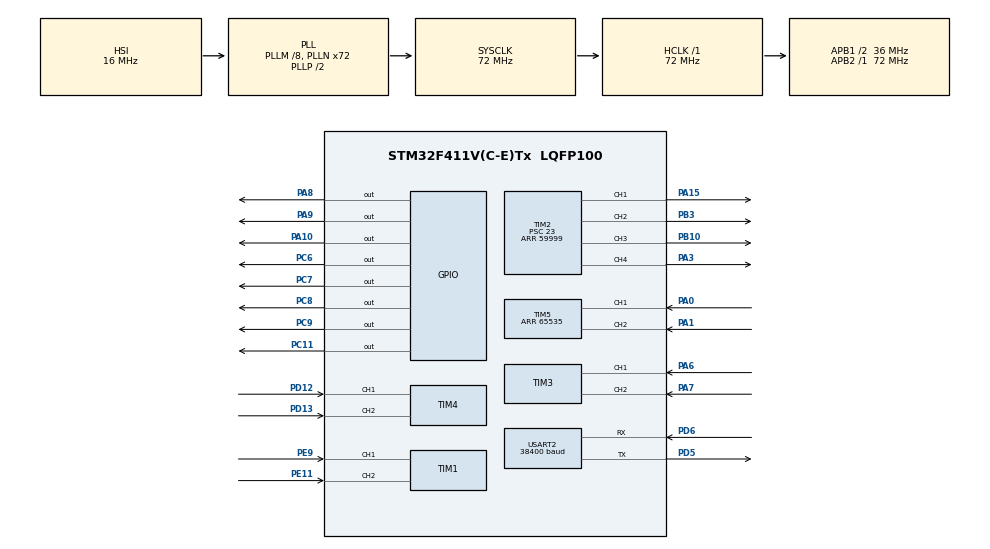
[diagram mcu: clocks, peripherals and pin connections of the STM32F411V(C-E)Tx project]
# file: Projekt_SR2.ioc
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Dma.Request0=USART2_RX
Dma.USART2_RX.0.Direction=DMA_PERIPH_TO_MEMORY
Dma.USART2_RX.0.FIFOMode=DMA_FIFOMODE_DISABLE
Dma.USART2_RX.0.Instance=DMA1_Stream5
Dma.USART2_RX.0.MemDataAlignment=DMA_MDATAALIGN_BYTE
Dma.USART2_RX.0.MemInc=DMA_MINC_ENABLE
Dma.USART2_RX.0.Mode=DMA_NORMAL
Dma.USART2_RX.0.PeriphDataAlignment=DMA_PDATAALIGN_BYTE
Dma.USART2_RX.0.PeriphInc=DMA_PINC_DISABLE
Dma.USART2_RX.0.Priority=DMA_PRIORITY_LOW
Mcu.Family=STM32F4
Mcu.Name=STM32F411V(C-E)Tx
Mcu.Package=LQFP100
NVIC.DMA1_Stream5_IRQn=true\:0\:0\:false\:false\:true\:false\:true
NVIC.PriorityGroup=NVIC_PRIORITYGROUP_4
NVIC.USART2_IRQn=true\:0\:0\:false\:false\:true\:true\:true
PA0-WKUP.Signal=S_TIM5_CH1
PA1.Signal=S_TIM5_CH2
PA10.Signal=GPIO_Output
PA15.Signal=S_TIM2_CH1_ETR
PA3.Signal=S_TIM2_CH4
PA6.Signal=S_TIM3_CH1
PA7.Signal=S_TIM3_CH2
PA8.Signal=GPIO_Output
PA9.PinState=GPIO_PIN_RESET
PA9.Signal=GPIO_Output
PB10.Signal=S_TIM2_CH3
PB3.Signal=S_TIM2_CH2
PC11.Signal=GPIO_Output
PC6.Signal=GPIO_Output
PC7.PinState=GPIO_PIN_RESET
PC7.Signal=GPIO_Output
PC8.Signal=GPIO_Output
PC9.PinState=GPIO_PIN_RESET
PC9.Signal=GPIO_Output
PD12.Signal=S_TIM4_CH1
PD13.Signal=S_TIM4_CH2
PD5.Mode=Asynchronous
PD5.Signal=USART2_TX
PD6.Mode=Asynchronous
PD6.Signal=USART2_RX
PE11.Signal=S_TIM1_CH2
PE9.Signal=S_TIM1_CH1
ProjectManager.HeapSize=0x200
ProjectManager.StackSize=0x400
ProjectManager.TargetToolchain=STM32CubeIDE
RCC.48MHZClocksFreq_Value=36000000
RCC.AHBFreq_Value=72000000
RCC.APB1CLKDivider=RCC_HCLK_DIV2
RCC.APB1Freq_Value=36000000
RCC.APB1TimFreq_Value=72000000
RCC.APB2Freq_Value=72000000
RCC.APB2TimFreq_Value=72000000
RCC.CortexFreq_Value=72000000
RCC.HCLKFreq_Value=72000000
RCC.HSE_VALUE=25000000
RCC.HSI_VALUE=16000000
RCC.LSE_VALUE=32768
RCC.PLLM=8
RCC.PLLN=72
RCC.SYSCLKFreq_VALUE=72000000
RCC.SYSCLKSource=RCC_SYSCLKSOURCE_PLLCLK
RCC.VCOOutputFreq_Value=144000000
SH.S_TIM1_CH1.0=TIM1_CH1,Encoder_Interface
SH.S_TIM1_CH2.0=TIM1_CH2,Encoder_Interface
SH.S_TIM2_CH1_ETR.0=TIM2_CH1,PWM Generation1 CH1
SH.S_TIM2_CH2.0=TIM2_CH2,PWM Generation2 CH2
SH.S_TIM2_CH3.0=TIM2_CH3,PWM Generation3 CH3
SH.S_TIM2_CH4.0=TIM2_CH4,PWM Generation4 CH4
SH.S_TIM3_CH1.0=TIM3_CH1,Encoder_Interface
SH.S_TIM3_CH2.0=TIM3_CH2,Encoder_Interface
SH.S_TIM4_CH1.0=TIM4_CH1,Encoder_Interface
SH.S_TIM4_CH2.0=TIM4_CH2,Encoder_Interface
SH.S_TIM5_CH1.0=TIM5_CH1,Encoder_Interface
SH.S_TIM5_CH2.0=TIM5_CH2,Encoder_Interface
TIM1.EncoderMode=TIM_ENCODERMODE_TI12
TIM1.IC1Filter=15
TIM1.IC2Filter=15
TIM2.AutoReloadPreload=TIM_AUTORELOAD_PRELOAD_ENABLE
TIM2.Channel-PWM\ Generation1\ CH1=TIM_CHANNEL_1
TIM2.Channel-PWM\ Generation2\ CH2=TIM_CHANNEL_2
TIM2.Channel-PWM\ Generation3\ CH3=TIM_CHANNEL_3
TIM2.Channel-PWM\ Generation4\ CH4=TIM_CHANNEL_4
TIM2.Period=59999
TIM2.Prescaler=23
TIM3.EncoderMode=TIM_ENCODERMODE_TI12
TIM3.IC1Filter=15
TIM3.IC2Filter=15
TIM4.EncoderMode=TIM_ENCODERMODE_TI12
TIM4.IC1Filter=15
TIM4.IC2Filter=15
TIM5.EncoderMode=TIM_ENCODERMODE_TI12
TIM5.IC1Filter=15
TIM5.IC2Filter=15
TIM5.Period=65535
TIM9.Period=29999
TIM9.Prescaler=7199
USART2.BaudRate=38400
USART2.VirtualMode=VM_ASYNC
VP_TIM9_VS_ClockSourceINT.Mode=Internal
board=custom

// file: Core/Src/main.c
/* USER CODE BEGIN Header */
/**
  ******************************************************************************
  * @file           : main.c
  * @brief          : Main program body
  ******************************************************************************
  * @attention
  *
  * <h2><center>&copy; Copyright (c) 2021 STMicroelectronics.
  * All rights reserved.</center></h2>
  *
  * This software component is licensed by ST under BSD 3-Clause license,
  * the "License"; You may not use this file except in compliance with the
  * License. You may obtain a copy of the License at:
  *                        opensource.org/licenses/BSD-3-Clause
  *
  ******************************************************************************
  */
/* USER CODE END Header */
#include "main.h"

/* USER CODE BEGIN Includes */
// 2222222222222222222222222222222222222222222222222
#include <stdio.h>

#include "InverseKinematics.h"
#include "Servo.h"
#include <stdlib.h>
#include "MY_FLASH.h"
#include "dc_driver.h"
#include "pid.h"
#include "odometry.h"
/* USER CODE END Includes */

/* USER CODE BEGIN PTD */
uint8_t Received;
int cpr1,cpr2,cpr4;
float cpr3;
uint8_t rxBuf[50];
uint8_t buffer[50];

//TEST UART
unsigned char buforRx[27] = {0};
unsigned char bufRxIndex = 0;
int FLAGA = 0;

int data[3];
float Data[4];
char id = 'a';
uint8_t flaga = 0;
uint8_t TRYB;
uint8_t flaga_trybu = 0;
uint8_t move = 0;
float flashData[4];
float flashData_check[4];
uint8_t flagaUART=0;
int i = 0;
int sectIT;
//int sectPLAY;
uint8_t erase = 1;
float seqNum;
robot_position robotPositon;

//cpid_t PID;
long int ENCODER_POS;

int32_t pid_out;
/* USER CODE END PTD */

/* USER CODE BEGIN PD */
#define MOTOR_MAX 49999
#define ENC_ZERO 32768
/* USER CODE END PD */

TIM_HandleTypeDef htim1;
TIM_HandleTypeDef htim2;
TIM_HandleTypeDef htim3;
TIM_HandleTypeDef htim4;
TIM_HandleTypeDef htim5;
TIM_HandleTypeDef htim9;

UART_HandleTypeDef huart2;
DMA_HandleTypeDef hdma_usart2_rx;

/* USER CODE BEGIN PV */
int _write(int file, char *ptr, int len) {
	HAL_UART_Transmit(&huart2, (uint8_t*)ptr, len, 50);
	return len;
}
/* USER CODE END PV */

void SystemClock_Config(void);
static void MX_GPIO_Init(void);
static void MX_DMA_Init(void);
static void MX_USART2_UART_Init(void);
static void MX_TIM1_Init(void);
static void MX_TIM2_Init(void);
static void MX_TIM3_Init(void);
static void MX_TIM4_Init(void);
static void MX_TIM5_Init(void);
static void MX_TIM9_Init(void);

/* USER CODE BEGIN 0 */

void encoder_position(){
	int diff=0;
	int pos,pos1,pos2,pos3,pos4;

	pos1 = htim1.Instance->CNT;
	pos2 = htim3.Instance->CNT;
	pos3 = htim4.Instance->CNT;
	pos4 = htim5.Instance->CNT;

	pos = (pos1+pos2+pos3+pos4)/4;

	htim1.Instance->CNT = ENC_ZERO;
	htim3.Instance->CNT = ENC_ZERO;
	htim4.Instance->CNT = ENC_ZERO;
	htim5.Instance->CNT = ENC_ZERO;

	diff = pos - ENC_ZERO;
	ENCODER_POS += diff;
	//ENC_L.absolute_pos -= diff;
	//ENC_L.curr_speed = - diff*463/10;
}

/*void initialize_PID(int8_t kp, int8_t ki, int8_t kd){

	  pid_init(&PID, kp*0.1f, ki*0.01f, kd*0.01f, 4, 40);  // 10ms ze wzgledu na 25Hz
	  PID.p_max = pid_scale(&PID, MOTOR_MAX);
	  PID.p_min = pid_scale(&PID, -MOTOR_MAX);
	  PID.i_max = pid_scale(&PID, MOTOR_MAX);
	  PID.i_min = pid_scale(&PID, -MOTOR_MAX);
	  PID.d_max = pid_scale(&PID, MOTOR_MAX);
	  PID.d_min = pid_scale(&PID, -MOTOR_MAX);
	  PID.total_max = pid_scale(&PID, MOTOR_MAX);
	  PID.total_min = pid_scale(&PID, -MOTOR_MAX);

}*/

void parse_ReceivedData() {

		int x = 0;
		int init_size = strlen(rxBuf);
		char delim[] = ",";

		char *ptr = strtok(rxBuf, delim);
		id = *ptr;

			while (ptr != NULL) {
				//printf("'%s'\n", ptr);
				ptr = strtok(NULL, delim);
				Data[x++] = atof(ptr);
				//sscanf(ptr, "%d", &data[x++]);
			}

			for (int i = 0; i < 50; i++)
				rxBuf[i] = NULL;

	//NOWE
			/*int x = 0;
			int init_size = strlen(buforRx);
			char delim[] = ",";

			char *ptr = strtok(buforRx, delim);
			id = *ptr;

				while (ptr != NULL) {
					//printf("'%s'\n", ptr);
					ptr = strtok(NULL, delim);
					Data[x++] = atof(ptr);
					//sscanf(ptr, "%d", &data[x++]);
				}

				for (int i = 0; i < 50; i++)
					buforRx[i] = NULL;*/

}

void MOVE(float xCoord, float  yCoord, TIM_HandleTypeDef *htim)
{
    float angleRot;

    if(yCoord != robotPositon.y)
    {
        if(yCoord > robotPositon.y)
        {
            angleRot = -robotPositon.angle;    // 0
            robotPositon.angle = 0;
        }

        if(yCoord < robotPositon.y)
        {
            if(robotPositon.angle >= 0) angleRot = 180 - robotPositon.angle;  //180
            if(robotPositon.angle < 0) angleRot = -180 - robotPositon.angle;
            robotPositon.angle = 180;
        }

        rotate_robot(angleRot, htim);
        HAL_Delay(1000);
        htim5.Instance->CNT = ENC_ZERO;
        drive_robot(abs(robotPositon.y - yCoord), 0, htim);
        HAL_Delay(1000);
        htim5.Instance->CNT = ENC_ZERO;
        robotPositon.y = yCoord;
    }

    if(xCoord != robotPositon.x)
    {
        if(xCoord > robotPositon.x)
        {
            angleRot = 90 - robotPositon.angle;
            robotPositon.angle = 90;
        }
        if(xCoord < robotPositon.x)
        {
            if(robotPositon.angle == 0) angleRot = -90 - robotPositon.angle;
            if(robotPositon.angle == 180) angleRot = -90 + robotPositon.angle;
            robotPositon.angle = -90;
        }

        rotate_robot(angleRot, htim);
        HAL_Delay(1000);
        htim5.Instance->CNT = ENC_ZERO;

        drive_robot(abs(robotPositon.x - xCoord), 0, htim);
        HAL_Delay(1000);
        htim5.Instance->CNT = ENC_ZERO;
        robotPositon.x = xCoord;
    }
}

/* USER CODE END 0 */

int main(void)
{

  /* MCU Configuration--------------------------------------------------------*/

  /* Reset of all peripherals, Initializes the Flash interface and the Systick. */
  HAL_Init();

  /* Configure the system clock */
  SystemClock_Config();

  /* Initialize all configured peripherals */
  MX_GPIO_Init();
  MX_DMA_Init();
  MX_USART2_UART_Init();
  MX_TIM1_Init();
  MX_TIM2_Init();
  MX_TIM3_Init();
  MX_TIM4_Init();
  MX_TIM5_Init();
  MX_TIM9_Init();
  /* USER CODE BEGIN 2 */
  MY_FLASH_SetSectorAddrs(6, 0x08040000);

  HAL_UART_Receive_DMA(&huart2, (uint8_t*)rxBuf, 26);
  //HAL_UART_Receive_IT(&huart2, &buforRx[bufRxIndex], 1);
  HAL_TIM_Encoder_Start_IT(&htim1, TIM_CHANNEL_ALL);
  HAL_TIM_Encoder_Start_IT(&htim3, TIM_CHANNEL_ALL);
  HAL_TIM_Encoder_Start_IT(&htim4, TIM_CHANNEL_ALL);
  HAL_TIM_Encoder_Start_IT(&htim5, TIM_CHANNEL_ALL);
  HAL_TIM_PWM_Start(&htim2, TIM_CHANNEL_4);
  //HAL_TIM_PWM_Start(&htim9, TIM_CHANNEL_1);
  servo obiekt;
  manipulator_position position;
  servo_Init(&htim2);

 // initialize_PID(3, 0, 0);
 pid_init(4.3, 2.16, 0.015);//pid_init(10, 3, 0.2) pid_init(9, 6, 0.35) pid_init(9, 4.7, 0.35
  htim1.Instance->CNT = ENC_ZERO;
  htim3.Instance->CNT = ENC_ZERO;
  htim4.Instance->CNT = ENC_ZERO;
  htim5.Instance->CNT = ENC_ZERO;
  cpr3 = 1;
  cpr1 = 0;

  //__HAL_TIM_SET_COMPARE(&htim2, TIM_CHANNEL_3, 700);
  //moveManipulator(&htim2, Theta1DEGREE(180), Theta2DEGREE(-90), Theta3(180));

  //HAL_Delay(7000);

  // __HAL_TIM_SET_COMPARE(&htim2, TIM_CHANNEL_1, 1600);

  // __HAL_TIM_SET_COMPARE(&htim2, TIM_CHANNEL_2, 7800);
   //HAL_Delay(3000);
  /* USER CODE END 2 */

  /* Infinite loop */
  /* USER CODE BEGIN WHILE */
  while (1)
  {

	//  rotate_robot(180, &htim2);
	//pid_out = pid_calculate(ENC_ZERO -(1*3840),(TIM5->CNT),1);

	// __HAL_TIM_SET_COMPARE(&htim2,TIM_CHANNEL_4,pid_out);
	 // rotate_robot(180, &robotPositon, &htim2);
	 //cpr1 = (TIM5->CNT);
	 //cpr2 = ENC_ZERO -(1*3840);
	 //cpr3 = (ENC_ZERO -TIM5->CNT)/150; // liczenie cm
	 // if(!cpr1)
	  //{
	//	  MOVE(50.0, 70.0, &htim2);
	//	  MOVE(-30.0,50.0,&htim2);
	//	  cpr1++;
	//  }

	  //asdasd
	 // rotate_robot(180,&htim2);
	 // MOVE(40.0,60.0,&htim2);
	  /*if(cpr1 == 0)
	  {
		 cpr1 = 1;

	  drive_robot(30.0,0,&htim2);
	  htim5.Instance->CNT = ENC_ZERO;
	  HAL_Delay(1000);

	  rotate_robot(90, &robotPositon, &htim2);
	  htim5.Instance->CNT = ENC_ZERO;
	  HAL_Delay(1000);
	  drive_robot(40.0,0,&htim2);
	  htim5.Instance->CNT = ENC_ZERO;
	  HAL_Delay(1000);
	  rotate_robot(90, &robotPositon, &htim2);
	  htim5.Instance->CNT = ENC_ZERO;
	  HAL_Delay(1000);
	  drive_robot(30.0,0,&htim2);
	  htim5.Instance->CNT = ENC_ZERO;
	  HAL_Delay(1000);
	  rotate_robot(90, &robotPositon, &htim2);
	  htim5.Instance->CNT = ENC_ZERO;
	  HAL_Delay(1000);
	  	drive_robot(40.0,0,&htim2);
	  	  htim5.Instance->CNT = ENC_ZERO;
	  	 HAL_Delay(1000);
	  	rotate_robot(90, &robotPositon, &htim2);
	  	htim5.Instance->CNT = ENC_ZERO;
	  	 HAL_Delay(1000);

	   //HAL_Delay(200);
	  //drive_robot(47.6,0,&htim2);
	  //htim5.Instance->CNT = ENC_ZERO;
	  //HAL_Delay(200);
	  }*/
	  //cpr3 = (float)(TIM5->CNT-ENC_ZERO)/150;
	  //cpr4 = (float)(ENC_ZERO-TIM5->CNT)/150;

	  //moveForward(&htim9, 999);

	  //turnLeft(&htim2,20000);

	 /* if(FLAGA == 1)
		  {

				 parse_ReceivedData();
				 flagaUART = 0;
				 HAL_UART_Receive_IT(&huart2, &buforRx[bufRxIndex], 1);

				 if(id == 'c')
				 {
					 move = 1;
				 }

		  }

	  while(id == 't')
	  	 	  {
		  if(FLAGA == 1)
			  {
				  parse_ReceivedData();
				  FLAGA = 0 ;
				  HAL_UART_Receive_IT(&huart2, &buforRx[bufRxIndex], 1);

			  }
	  	 		  if(id == 't')
	  	 		  {
	  	 			 __HAL_TIM_SET_COMPARE(&htim2,TIM_CHANNEL_4,20000);

	  	 			 //if(Data[0] == 0 && Data[1] == 0) moveStop();

	  				if (Data[0] == 0) {
	  					//lewo góra forward
	  					HAL_GPIO_WritePin(GPIOA, GPIO_PIN_8, 0);
	  					HAL_GPIO_WritePin(GPIOA, GPIO_PIN_10, 0);

	  					//lewo dół forward
	  					HAL_GPIO_WritePin(GPIOC, GPIO_PIN_11, 0);
	  					HAL_GPIO_WritePin(GPIOC, GPIO_PIN_7, 0);
	  				}

	  				else if (Data[0] == 1) {
	  					//lewo góra forward
	  					HAL_GPIO_WritePin(GPIOA, GPIO_PIN_8, 1);
	  					HAL_GPIO_WritePin(GPIOA, GPIO_PIN_10, 0);

	  					//lewo dół forward
	  					HAL_GPIO_WritePin(GPIOC, GPIO_PIN_11, 0);
	  					HAL_GPIO_WritePin(GPIOC, GPIO_PIN_7, 1);
	  				}

	  				else if (Data[0] == 2) {
	  					//lewo góra backward
	  					HAL_GPIO_WritePin(GPIOA, GPIO_PIN_8, 0);
	  					HAL_GPIO_WritePin(GPIOA, GPIO_PIN_10, 1);

	  					//lewo dół backward
	  					HAL_GPIO_WritePin(GPIOC, GPIO_PIN_7, 0);
	  					HAL_GPIO_WritePin(GPIOC, GPIO_PIN_11, 1);

	  				}

	  				if (Data[1] == 0) {
	  					//prawo góra forward
	  					HAL_GPIO_WritePin(GPIOC, GPIO_PIN_6, 0);
	  					HAL_GPIO_WritePin(GPIOC, GPIO_PIN_8, 0);

	  					//prawo dół forward
	  					HAL_GPIO_WritePin(GPIOA, GPIO_PIN_9, 0);
	  					HAL_GPIO_WritePin(GPIOC, GPIO_PIN_9, 0);
	  				}

	  				else if (Data[1] == 1) {
	  					//prawo góra forward
	  					HAL_GPIO_WritePin(GPIOC, GPIO_PIN_6, 1);
	  					HAL_GPIO_WritePin(GPIOC, GPIO_PIN_8, 0);

	  					//prawo dół forward
	  					HAL_GPIO_WritePin(GPIOA, GPIO_PIN_9, 1);
	  					HAL_GPIO_WritePin(GPIOC, GPIO_PIN_9, 0);
	  				}

	  				else if (Data[1] == 2) {
	  					//prawo góra backward
	  					HAL_GPIO_WritePin(GPIOC, GPIO_PIN_6, 0);
	  					HAL_GPIO_WritePin(GPIOC, GPIO_PIN_8, 1);

	  					//prawo dół backward
	  					HAL_GPIO_WritePin(GPIOA, GPIO_PIN_9, 0);
	  					HAL_GPIO_WritePin(GPIOC, GPIO_PIN_9, 1);

	  				}

	  	 		  }

	  	 	  }*/

	  if(flagaUART == 1)
	  		  {

	  				 parse_ReceivedData();
	  				 flagaUART = 0;
	  				HAL_UART_Receive_DMA(&huart2, (uint8_t*)rxBuf, 26);

	  				 if(id == 'c')
	  				 {
	  					 move = 1;
	  				 }

	  		  }

	  //RECZNY MANIP
	  while(id == 'r')
	  {
		  if(flagaUART == 1)
		  {
			  parse_ReceivedData();
			  flagaUART = 0;
			  HAL_UART_Receive_DMA(&huart2, (uint8_t*)rxBuf, 26);
		  }

		  if(id == 'r')
		  {
			  __HAL_TIM_SET_COMPARE(&htim2,TIM_CHANNEL_1,Data[0]);
			  __HAL_TIM_SET_COMPARE(&htim2,TIM_CHANNEL_2,Data[1]);
			  __HAL_TIM_SET_COMPARE(&htim2,TIM_CHANNEL_3,Data[2]);

		  }
		  if(id != 'r')
		  {
			  moveManipulator(&htim2, Data[0], Data[1], Data[2]);
		  }
	  }

	  //RECZNY POJAZD
	 	  while(id == 't')
	 	  {
	 		  if(flagaUART == 1)
	 		  {
	 			  parse_ReceivedData();
	 			  flagaUART = 0;
	 			  HAL_UART_Receive_DMA(&huart2, (uint8_t*)rxBuf, 26);
	 		  }

	 		  if(id == 't')
	 		  {
	 			 __HAL_TIM_SET_COMPARE(&htim2,TIM_CHANNEL_4,20000);

	 			 //if(Data[0] == 0 && Data[1] == 0) moveStop();

				if (Data[0] == 0) {
					//lewo góra forward
					HAL_GPIO_WritePin(GPIOA, GPIO_PIN_8, 0);
					HAL_GPIO_WritePin(GPIOA, GPIO_PIN_10, 0);

					//lewo dół forward
					HAL_GPIO_WritePin(GPIOC, GPIO_PIN_11, 0);
					HAL_GPIO_WritePin(GPIOC, GPIO_PIN_7, 0);
				}

				else if (Data[0] == 1) {
					//lewo góra forward
					HAL_GPIO_WritePin(GPIOA, GPIO_PIN_8, 1);
					HAL_GPIO_WritePin(GPIOA, GPIO_PIN_10, 0);

					//lewo dół forward
					HAL_GPIO_WritePin(GPIOC, GPIO_PIN_11, 0);
					HAL_GPIO_WritePin(GPIOC, GPIO_PIN_7, 1);
				}

				else if (Data[0] == 2) {
					//lewo góra backward
					HAL_GPIO_WritePin(GPIOA, GPIO_PIN_8, 0);
					HAL_GPIO_WritePin(GPIOA, GPIO_PIN_10, 1);

					//lewo dół backward
					HAL_GPIO_WritePin(GPIOC, GPIO_PIN_7, 0);
					HAL_GPIO_WritePin(GPIOC, GPIO_PIN_11, 1);

				}

				if (Data[1] == 0) {
					//prawo góra forward
					HAL_GPIO_WritePin(GPIOC, GPIO_PIN_6, 0);
					HAL_GPIO_WritePin(GPIOC, GPIO_PIN_8, 0);

					//prawo dół forward
					HAL_GPIO_WritePin(GPIOA, GPIO_PIN_9, 0);
					HAL_GPIO_WritePin(GPIOC, GPIO_PIN_9, 0);
				}

				else if (Data[1] == 1) {
					//prawo góra forward
					HAL_GPIO_WritePin(GPIOC, GPIO_PIN_6, 1);
					HAL_GPIO_WritePin(GPIOC, GPIO_PIN_8, 0);

					//prawo dół forward
					HAL_GPIO_WritePin(GPIOA, GPIO_PIN_9, 1);
					HAL_GPIO_WritePin(GPIOC, GPIO_PIN_9, 0);
				}

				else if (Data[1] == 2) {
					//prawo góra backward
					HAL_GPIO_WritePin(GPIOC, GPIO_PIN_6, 0);
					HAL_GPIO_WritePin(GPIOC, GPIO_PIN_8, 1);

					//prawo dół backward
					HAL_GPIO_WritePin(GPIOA, GPIO_PIN_9, 0);
					HAL_GPIO_WritePin(GPIOC, GPIO_PIN_9, 1);

				}

	 		  }

	 	  }

	  //NOWA SEKWECJA
	  while(id == 'n')
	  {
		  if(flagaUART == 1)
		  {
			  parse_ReceivedData();
			  flagaUART = 0;
			  HAL_UART_Receive_DMA(&huart2, (uint8_t*)rxBuf, 26);
		  }

		  if(sectIT == 0)
		  {
			  HAL_FLASH_Unlock();
			    	//Erase the required Flash sector
			    	FLASH_Erase_Sector(6, FLASH_VOLTAGE_RANGE_3);
			    	HAL_FLASH_Lock();
		  }

		  if(id == 'n')
		  {
			  if(TRYB == 1 && flagaUART == 0)
			  {
			  if(Data[3] == 0)
			  {
				  MY_FLASH_WriteN(sectIT*16+4, Data, 3, DATA_TYPE_32);
				 // MY_FLASH_ReadN(sectIT*16+4, flashData, 3, DATA_TYPE_32);

				  //MY_FLASH_ReadN(4, flashData_check, 3, DATA_TYPE_32);
				  sectIT++;
				  flagaUART = 0;
			  }

			  if(Data[3] != 0)
			  {
				  MY_FLASH_WriteN(0, &Data[3], 1, DATA_TYPE_32);
				  MY_FLASH_WriteN(sectIT*16+4, Data, 3, DATA_TYPE_32);
				  sectIT = 0;
				  id = 'a';
			  }
			  TRYB = 0;
			  }
		  }
	  }

	  //PLAY SEKWENCJA
	 /* while(id == 'p')
	  {
		  if(flagaUART == 1)
		  {
			  parse_ReceivedData();
			  flagaUART = 0;
			  HAL_UART_Receive_DMA(&huart2, (uint8_t*)rxBuf, 26);
		  }

		  if(Data[0] == 1)
		  {
			  MY_FLASH_ReadN(0, &seqNum, 1, DATA_TYPE_32);

			  for(int sectPLAY = 0;sectPLAY < (int)seqNum; sectPLAY++ )
			  {
				  MY_FLASH_ReadN(sectPLAY*16+4, flashData, 3, DATA_TYPE_32);

				  InverseKinematics(flashData[0], flashData[1], flashData[2], &obiekt, &position, 0);
				  moveManipulator(&htim2, Theta1(obiekt.servo1), Theta2(obiekt.servo2), Theta3(obiekt.servo3));

				  HAL_Delay(1000);
			  }
			  id = 'a';

		  }
	  }*/

	  while(id == 'p')
	  	  {
	  		  if(flagaUART == 1)
	  		  {
	  			  parse_ReceivedData();
	  			  flagaUART = 0;
	  			  HAL_UART_Receive_DMA(&huart2, (uint8_t*)rxBuf, 26);
	  		  }

	  		  if(Data[0] == 1)
	  		  {
	  			  MY_FLASH_ReadN(0, &seqNum, 1, DATA_TYPE_32);

	  			  for(int sectPLAY = 0;sectPLAY < (int)seqNum; sectPLAY++ )
	  			  {
	  				  MY_FLASH_ReadN(sectPLAY*16+4, flashData, 3, DATA_TYPE_32);

	  				if((sectPLAY+1)%2 == 0)
	  				{
	  					InverseKinematics(flashData[0], flashData[1], flashData[2], &obiekt, &position, 0);
	  					moveManipulator(&htim2, Theta1(obiekt.servo1), Theta2(obiekt.servo2), Theta3(obiekt.servo3));
	  					HAL_Delay(2000);
	  					servo_Init(&htim2);
	  					HAL_Delay(2000);
	  				}
	  				else
	  				{
	  					MOVE(flashData[0], flashData[1], &htim2);
	  					HAL_Delay(1000);
	  				}

	  			  }
	  			  id = 'a';

	  		  }
	  	  }

	  //TRYB COORDINATES
	  while(id == 'c')
	  {
		  if(flagaUART == 1)
		  {
			  parse_ReceivedData();
			  flagaUART = 0;
			  HAL_UART_Receive_DMA(&huart2, (uint8_t*)rxBuf, 26);
			  move = 1;
		  }

		  if(id == 'c')
		  {
			  if(move  == 1)
			  {
				  if(Data[0]!= 0)
				  {
					  MOVE(Data[0]-21, Data[1], &htim2);
				  }

				if(Data[0] == 0) MOVE(Data[0], Data[1]-21, &htim2);
			  // InverseKinematics(Data[0], Data[1], Data[2], &obiekt, &position, 0);
				InverseKinematics(0, 11, 0, &obiekt, &position, 0);
			   moveManipulator(&htim2, Theta1(obiekt.servo1), Theta2(obiekt.servo2), Theta3(obiekt.servo3));
			   move = 0;
			  }

		  }
	  }

	  //TRYB COORDINATES
	 	  while(id == 'w')
	 	  {
	 		  if(flagaUART == 1)
	 		  {
	 			  parse_ReceivedData();
	 			  flagaUART = 0;
	 			  HAL_UART_Receive_DMA(&huart2, (uint8_t*)rxBuf, 26);
	 			  move = 1;
	 		  }

	 		  if(id == 'w')
	 		  {
	 			  if(move  == 1)
	 			  {
	 			   InverseKinematics(Data[0], Data[1], Data[2], &obiekt, &position, 0);
	 			   moveManipulator(&htim2, Theta1(obiekt.servo1), Theta2(obiekt.servo2), Theta3(obiekt.servo3));
	 			   move = 0;
	 			  }

	 		  }
	 	  }

    /* USER CODE END WHILE */

  }
}

void SystemClock_Config(void)
{
  RCC_OscInitTypeDef RCC_OscInitStruct = {0};
  RCC_ClkInitTypeDef RCC_ClkInitStruct = {0};

  /** Configure the main internal regulator output voltage
  */
  __HAL_RCC_PWR_CLK_ENABLE();
  __HAL_PWR_VOLTAGESCALING_CONFIG(PWR_REGULATOR_VOLTAGE_SCALE1);
  /** Initializes the RCC Oscillators according to the specified parameters
  * in the RCC_OscInitTypeDef structure.
  */
  RCC_OscInitStruct.OscillatorType = RCC_OSCILLATORTYPE_HSI;
  RCC_OscInitStruct.HSIState = RCC_HSI_ON;
  RCC_OscInitStruct.HSICalibrationValue = RCC_HSICALIBRATION_DEFAULT;
  RCC_OscInitStruct.PLL.PLLState = RCC_PLL_ON;
  RCC_OscInitStruct.PLL.PLLSource = RCC_PLLSOURCE_HSI;
  RCC_OscInitStruct.PLL.PLLM = 8;
  RCC_OscInitStruct.PLL.PLLN = 72;
  RCC_OscInitStruct.PLL.PLLP = RCC_PLLP_DIV2;
  RCC_OscInitStruct.PLL.PLLQ = 4;
  if (HAL_RCC_OscConfig(&RCC_OscInitStruct) != HAL_OK)
  {
    Error_Handler();
  }
  /** Initializes the CPU, AHB and APB buses clocks
  */
  RCC_ClkInitStruct.ClockType = RCC_CLOCKTYPE_HCLK|RCC_CLOCKTYPE_SYSCLK
                              |RCC_CLOCKTYPE_PCLK1|RCC_CLOCKTYPE_PCLK2;
  RCC_ClkInitStruct.SYSCLKSource = RCC_SYSCLKSOURCE_PLLCLK;
  RCC_ClkInitStruct.AHBCLKDivider = RCC_SYSCLK_DIV1;
  RCC_ClkInitStruct.APB1CLKDivider = RCC_HCLK_DIV2;
  RCC_ClkInitStruct.APB2CLKDivider = RCC_HCLK_DIV1;

  if (HAL_RCC_ClockConfig(&RCC_ClkInitStruct, FLASH_LATENCY_2) != HAL_OK)
  {
    Error_Handler();
  }
}

static void MX_TIM1_Init(void)
{

  TIM_Encoder_InitTypeDef sConfig = {0};
  TIM_MasterConfigTypeDef sMasterConfig = {0};

  htim1.Instance = TIM1;
  htim1.Init.Prescaler = 0;
  htim1.Init.CounterMode = TIM_COUNTERMODE_UP;
  htim1.Init.Period = 65535;
  htim1.Init.ClockDivision = TIM_CLOCKDIVISION_DIV1;
  htim1.Init.RepetitionCounter = 0;
  htim1.Init.AutoReloadPreload = TIM_AUTORELOAD_PRELOAD_DISABLE;
  sConfig.EncoderMode = TIM_ENCODERMODE_TI12;
  sConfig.IC1Polarity = TIM_ICPOLARITY_RISING;
  sConfig.IC1Selection = TIM_ICSELECTION_DIRECTTI;
  sConfig.IC1Prescaler = TIM_ICPSC_DIV1;
  sConfig.IC1Filter = 15;
  sConfig.IC2Polarity = TIM_ICPOLARITY_RISING;
  sConfig.IC2Selection = TIM_ICSELECTION_DIRECTTI;
  sConfig.IC2Prescaler = TIM_ICPSC_DIV1;
  sConfig.IC2Filter = 15;
  if (HAL_TIM_Encoder_Init(&htim1, &sConfig) != HAL_OK)
  {
    Error_Handler();
  }
  sMasterConfig.MasterOutputTrigger = TIM_TRGO_RESET;
  sMasterConfig.MasterSlaveMode = TIM_MASTERSLAVEMODE_DISABLE;
  if (HAL_TIMEx_MasterConfigSynchronization(&htim1, &sMasterConfig) != HAL_OK)
  {
    Error_Handler();
  }

}

static void MX_TIM2_Init(void)
{

  TIM_MasterConfigTypeDef sMasterConfig = {0};
  TIM_OC_InitTypeDef sConfigOC = {0};

  htim2.Instance = TIM2;
  htim2.Init.Prescaler = 23;
  htim2.Init.CounterMode = TIM_COUNTERMODE_UP;
  htim2.Init.Period = 59999;
  htim2.Init.ClockDivision = TIM_CLOCKDIVISION_DIV1;
  htim2.Init.AutoReloadPreload = TIM_AUTORELOAD_PRELOAD_ENABLE;
  if (HAL_TIM_PWM_Init(&htim2) != HAL_OK)
  {
    Error_Handler();
  }
  sMasterConfig.MasterOutputTrigger = TIM_TRGO_RESET;
  sMasterConfig.MasterSlaveMode = TIM_MASTERSLAVEMODE_DISABLE;
  if (HAL_TIMEx_MasterConfigSynchronization(&htim2, &sMasterConfig) != HAL_OK)
  {
    Error_Handler();
  }
  sConfigOC.OCMode = TIM_OCMODE_PWM1;
  sConfigOC.Pulse = 0;
  sConfigOC.OCPolarity = TIM_OCPOLARITY_HIGH;
  sConfigOC.OCFastMode = TIM_OCFAST_DISABLE;
  if (HAL_TIM_PWM_ConfigChannel(&htim2, &sConfigOC, TIM_CHANNEL_1) != HAL_OK)
  {
    Error_Handler();
  }
  if (HAL_TIM_PWM_ConfigChannel(&htim2, &sConfigOC, TIM_CHANNEL_2) != HAL_OK)
  {
    Error_Handler();
  }
  if (HAL_TIM_PWM_ConfigChannel(&htim2, &sConfigOC, TIM_CHANNEL_3) != HAL_OK)
  {
    Error_Handler();
  }
  if (HAL_TIM_PWM_ConfigChannel(&htim2, &sConfigOC, TIM_CHANNEL_4) != HAL_OK)
  {
    Error_Handler();
  }
  HAL_TIM_MspPostInit(&htim2);

}

static void MX_TIM3_Init(void)
{

  TIM_Encoder_InitTypeDef sConfig = {0};
  TIM_MasterConfigTypeDef sMasterConfig = {0};

  htim3.Instance = TIM3;
  htim3.Init.Prescaler = 0;
  htim3.Init.CounterMode = TIM_COUNTERMODE_UP;
  htim3.Init.Period = 65535;
  htim3.Init.ClockDivision = TIM_CLOCKDIVISION_DIV1;
  htim3.Init.AutoReloadPreload = TIM_AUTORELOAD_PRELOAD_DISABLE;
  sConfig.EncoderMode = TIM_ENCODERMODE_TI12;
  sConfig.IC1Polarity = TIM_ICPOLARITY_RISING;
  sConfig.IC1Selection = TIM_ICSELECTION_DIRECTTI;
  sConfig.IC1Prescaler = TIM_ICPSC_DIV1;
  sConfig.IC1Filter = 15;
  sConfig.IC2Polarity = TIM_ICPOLARITY_RISING;
  sConfig.IC2Selection = TIM_ICSELECTION_DIRECTTI;
  sConfig.IC2Prescaler = TIM_ICPSC_DIV1;
  sConfig.IC2Filter = 15;
  if (HAL_TIM_Encoder_Init(&htim3, &sConfig) != HAL_OK)
  {
    Error_Handler();
  }
  sMasterConfig.MasterOutputTrigger = TIM_TRGO_RESET;
  sMasterConfig.MasterSlaveMode = TIM_MASTERSLAVEMODE_DISABLE;
  if (HAL_TIMEx_MasterConfigSynchronization(&htim3, &sMasterConfig) != HAL_OK)
  {
    Error_Handler();
  }

}

static void MX_TIM4_Init(void)
{

  TIM_Encoder_InitTypeDef sConfig = {0};
  TIM_MasterConfigTypeDef sMasterConfig = {0};

  htim4.Instance = TIM4;
  htim4.Init.Prescaler = 0;
  htim4.Init.CounterMode = TIM_COUNTERMODE_UP;
  htim4.Init.Period = 65535;
  htim4.Init.ClockDivision = TIM_CLOCKDIVISION_DIV1;
  htim4.Init.AutoReloadPreload = TIM_AUTORELOAD_PRELOAD_DISABLE;
  sConfig.EncoderMode = TIM_ENCODERMODE_TI12;
  sConfig.IC1Polarity = TIM_ICPOLARITY_RISING;
  sConfig.IC1Selection = TIM_ICSELECTION_DIRECTTI;
  sConfig.IC1Prescaler = TIM_ICPSC_DIV1;
  sConfig.IC1Filter = 15;
  sConfig.IC2Polarity = TIM_ICPOLARITY_RISING;
  sConfig.IC2Selection = TIM_ICSELECTION_DIRECTTI;
  sConfig.IC2Prescaler = TIM_ICPSC_DIV1;
  sConfig.IC2Filter = 15;
  if (HAL_TIM_Encoder_Init(&htim4, &sConfig) != HAL_OK)
  {
    Error_Handler();
  }
  sMasterConfig.MasterOutputTrigger = TIM_TRGO_RESET;
  sMasterConfig.MasterSlaveMode = TIM_MASTERSLAVEMODE_DISABLE;
  if (HAL_TIMEx_MasterConfigSynchronization(&htim4, &sMasterConfig) != HAL_OK)
  {
    Error_Handler();
  }

}

static void MX_TIM5_Init(void)
{

  TIM_Encoder_InitTypeDef sConfig = {0};
  TIM_MasterConfigTypeDef sMasterConfig = {0};

  htim5.Instance = TIM5;
  htim5.Init.Prescaler = 0;
  htim5.Init.CounterMode = TIM_COUNTERMODE_UP;
  htim5.Init.Period = 65535;
  htim5.Init.ClockDivision = TIM_CLOCKDIVISION_DIV1;
  htim5.Init.AutoReloadPreload = TIM_AUTORELOAD_PRELOAD_DISABLE;
  sConfig.EncoderMode = TIM_ENCODERMODE_TI12;
  sConfig.IC1Polarity = TIM_ICPOLARITY_RISING;
  sConfig.IC1Selection = TIM_ICSELECTION_DIRECTTI;
  sConfig.IC1Prescaler = TIM_ICPSC_DIV1;
  sConfig.IC1Filter = 15;
  sConfig.IC2Polarity = TIM_ICPOLARITY_RISING;
  sConfig.IC2Selection = TIM_ICSELECTION_DIRECTTI;
  sConfig.IC2Prescaler = TIM_ICPSC_DIV1;
  sConfig.IC2Filter = 15;
  if (HAL_TIM_Encoder_Init(&htim5, &sConfig) != HAL_OK)
  {
    Error_Handler();
  }
  sMasterConfig.MasterOutputTrigger = TIM_TRGO_RESET;
  sMasterConfig.MasterSlaveMode = TIM_MASTERSLAVEMODE_DISABLE;
  if (HAL_TIMEx_MasterConfigSynchronization(&htim5, &sMasterConfig) != HAL_OK)
  {
    Error_Handler();
  }

}

static void MX_TIM9_Init(void)
{

  TIM_ClockConfigTypeDef sClockSourceConfig = {0};

  htim9.Instance = TIM9;
  htim9.Init.Prescaler = 7199;
  htim9.Init.CounterMode = TIM_COUNTERMODE_UP;
  htim9.Init.Period = 29999;
  htim9.Init.ClockDivision = TIM_CLOCKDIVISION_DIV1;
  htim9.Init.AutoReloadPreload = TIM_AUTORELOAD_PRELOAD_DISABLE;
  if (HAL_TIM_Base_Init(&htim9) != HAL_OK)
  {
    Error_Handler();
  }
  sClockSourceConfig.ClockSource = TIM_CLOCKSOURCE_INTERNAL;
  if (HAL_TIM_ConfigClockSource(&htim9, &sClockSourceConfig) != HAL_OK)
  {
    Error_Handler();
  }

}

static void MX_USART2_UART_Init(void)
{

  huart2.Instance = USART2;
  huart2.Init.BaudRate = 38400;
  huart2.Init.WordLength = UART_WORDLENGTH_8B;
  huart2.Init.StopBits = UART_STOPBITS_1;
  huart2.Init.Parity = UART_PARITY_NONE;
  huart2.Init.Mode = UART_MODE_TX_RX;
  huart2.Init.HwFlowCtl = UART_HWCONTROL_NONE;
  huart2.Init.OverSampling = UART_OVERSAMPLING_16;
  if (HAL_UART_Init(&huart2) != HAL_OK)
  {
    Error_Handler();
  }

}

static void MX_DMA_Init(void)
{

  /* DMA controller clock enable */
  __HAL_RCC_DMA1_CLK_ENABLE();

  /* DMA interrupt init */
  /* DMA1_Stream5_IRQn interrupt configuration */
  HAL_NVIC_SetPriority(DMA1_Stream5_IRQn, 0, 0);
  HAL_NVIC_EnableIRQ(DMA1_Stream5_IRQn);

}

static void MX_GPIO_Init(void)
{
  GPIO_InitTypeDef GPIO_InitStruct = {0};

  /* GPIO Ports Clock Enable */
  __HAL_RCC_GPIOA_CLK_ENABLE();
  __HAL_RCC_GPIOE_CLK_ENABLE();
  __HAL_RCC_GPIOB_CLK_ENABLE();
  __HAL_RCC_GPIOD_CLK_ENABLE();
  __HAL_RCC_GPIOC_CLK_ENABLE();

  /*Configure GPIO pin Output Level */
  HAL_GPIO_WritePin(GPIOC, GPIO_PIN_6|GPIO_PIN_7|GPIO_PIN_8|GPIO_PIN_9
                          |GPIO_PIN_11, GPIO_PIN_RESET);

  /*Configure GPIO pin Output Level */
  HAL_GPIO_WritePin(GPIOA, GPIO_PIN_8|GPIO_PIN_9|GPIO_PIN_10, GPIO_PIN_RESET);

  /*Configure GPIO pins : PC6 PC7 PC8 PC9
                           PC11 */
  GPIO_InitStruct.Pin = GPIO_PIN_6|GPIO_PIN_7|GPIO_PIN_8|GPIO_PIN_9
                          |GPIO_PIN_11;
  GPIO_InitStruct.Mode = GPIO_MODE_OUTPUT_PP;
  GPIO_InitStruct.Pull = GPIO_NOPULL;
  GPIO_InitStruct.Speed = GPIO_SPEED_FREQ_LOW;
  HAL_GPIO_Init(GPIOC, &GPIO_InitStruct);

  /*Configure GPIO pins : PA8 PA9 PA10 */
  GPIO_InitStruct.Pin = GPIO_PIN_8|GPIO_PIN_9|GPIO_PIN_10;
  GPIO_InitStruct.Mode = GPIO_MODE_OUTPUT_PP;
  GPIO_InitStruct.Pull = GPIO_NOPULL;
  GPIO_InitStruct.Speed = GPIO_SPEED_FREQ_LOW;
  HAL_GPIO_Init(GPIOA, &GPIO_InitStruct);

}

/* USER CODE BEGIN 4 */
void HAL_UART_RxCpltCallback(UART_HandleTypeDef *huart)
{
	if(huart->Instance == USART2)
	{
		flagaUART = 1;
		TRYB = 1;

	}

	//NOWEEEEEEEEE
	/*if (huart->Instance == USART2) {

		if(buforRx[0] == 't')
		{
			if(buforRx[bufRxIndex] == 0x0D){
				FLAGA = 1;
				bufRxIndex = 0;
			} else{
				bufRxIndex++;
				HAL_UART_Receive_IT(&huart2, &buforRx[bufRxIndex], 1);
				if(bufRxIndex>27){
					bufRxIndex= 0;
				}
			}

		}
		else
			HAL_UART_Receive_IT(&huart2, &buforRx[0], 1);
	}*/

}
/* USER CODE END 4 */

void Error_Handler(void)
{
}

/************************ (C) COPYRIGHT STMicroelectronics *****END OF FILE****/
